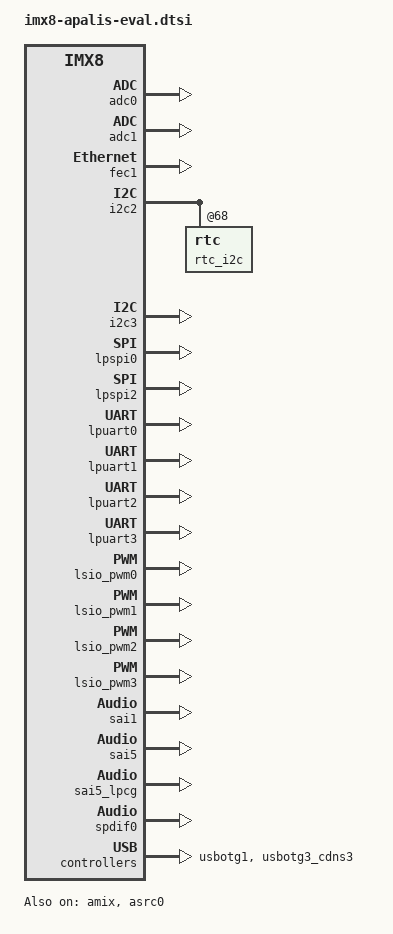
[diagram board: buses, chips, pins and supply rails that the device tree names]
// SPDX-License-Identifier: GPL-2.0-or-later OR MIT
/*
 * Copyright 2022 Toradex
 */

/ {
	aliases {
		rtc0 = &rtc_i2c;
		rtc1 = &rtc;
	};

	reg_usb_host_vbus: regulator-usb-host-vbus {
		regulator-name = "VCC USBH2(ABCD) / USBH(3|4)";
	};
};

&adc0 {
	status = "okay";
};

&adc1 {
	status = "okay";
};

&amix {
	status = "okay";
};

&asrc0 {
	status = "okay";
};

/* TODO: Display Controller */

/* TODO: DPU */

/* Apalis ETH1 */
&fec1 {
	status = "okay";
};

/* Apalis I2C1 */
&i2c2 {
	status = "okay";

	/* M41T0M6 real time clock on carrier board */
	rtc_i2c: rtc@68 {
		status = "okay";
	};
};

/* Apalis I2C3 (CAM) */
&i2c3 {
	status = "okay";
};

/* Apalis SPI1 */
&lpspi0 {
	status = "okay";
};

/* Apalis SPI2 */
&lpspi2 {
	status = "okay";
};

/* Apalis UART3 */
&lpuart0 {
	status = "okay";
};

/* Apalis UART1 */
&lpuart1 {
	status = "okay";
};

/* Apalis UART4 */
&lpuart2 {
	status = "okay";
};

/* Apalis UART2 */
&lpuart3 {
	status = "okay";
};

/* Apalis PWM3, MXM3 pin 6 */
&lsio_pwm0 {
	status = "okay";
};

/* Apalis PWM4, MXM3 pin 8 */
&lsio_pwm1 {
	status = "okay";
};

/* Apalis PWM1, MXM3 pin 2 */
&lsio_pwm2 {
	status = "okay";
};

/* Apalis PWM2, MXM3 pin 4 */
&lsio_pwm3 {
	status = "okay";
};

/* TODO: Apalis PCIE1 */

/* TODO: Apalis BKL1_PWM */

/* Apalis DAP1 */
&sai1 {
	status = "okay";
};

&sai5 {
	status = "okay";
};

&sai5_lpcg {
	status = "okay";
};

/* TODO: Apalis SATA1 */

/* Apalis SPDIF1 */
&spdif0 {
	status = "okay";
};

/* TODO: Apalis USBH2, Apalis USBH3 and on-module Wi-Fi via on-module HSIC Hub */

/* Apalis USBO1 */
&usbotg1 {
	status = "okay";
};

/* Apalis USBH4 SuperSpeed */
&usbotg3_cdns3 {
	status = "okay";
};
